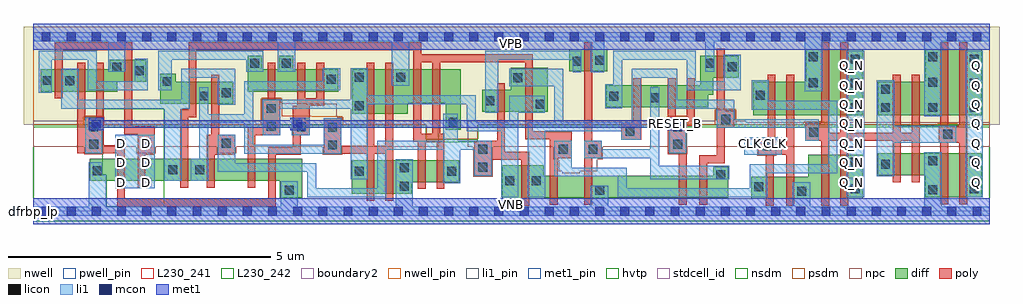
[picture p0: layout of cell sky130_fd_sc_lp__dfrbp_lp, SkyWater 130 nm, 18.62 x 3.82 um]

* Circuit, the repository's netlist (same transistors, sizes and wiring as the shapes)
* Copyright 2020 The SkyWater PDK Authors
*
* Licensed under the Apache License, Version 2.0 (the "License");
* you may not use this file except in compliance with the License.
* You may obtain a copy of the License at
*
*     https://www.apache.org/licenses/LICENSE-2.0
*
* Unless required by applicable law or agreed to in writing, software
* distributed under the License is distributed on an "AS IS" BASIS,
* WITHOUT WARRANTIES OR CONDITIONS OF ANY KIND, either express or implied.
* See the License for the specific language governing permissions and
* limitations under the License.
*
* SPDX-License-Identifier: Apache-2.0

.SUBCKT sky130_fd_sc_lp__dfrbp_lp CLK D RESET_B VGND VNB VPB VPWR Q Q_N
*.PININFO CLK:I D:I RESET_B:I VGND:I VNB:I VPB:I VPWR:I Q:O Q_N:O
MI651 Q_N s0 net156 VNB sky130_fd_pr__nfet_01v8 m=1 w=0.84U l=0.15U mult=1 sa=0.265
+ sb=0.265 sd=0.28 area=0.063 perim=1.14
MI46 clkpos clkneg net73 VNB sky130_fd_pr__nfet_01v8 m=1 w=0.42U l=0.15U mult=1
+ sa=0.265 sb=0.265 sd=0.28 area=0.063 perim=1.14
MI42 db clkneg M0 VNB sky130_fd_pr__nfet_01v8 m=1 w=0.42U l=0.15U mult=1 sa=0.265
+ sb=0.265 sd=0.28 area=0.063 perim=1.14
MI656 net114 s0 net144 VNB sky130_fd_pr__nfet_01v8 m=1 w=0.42U l=0.15U mult=1 sa=0.265
+ sb=0.265 sd=0.28 area=0.063 perim=1.14
MI657 net144 RESET_B VGND VNB sky130_fd_pr__nfet_01v8 m=1 w=0.42U l=0.15U mult=1
+ sa=0.265 sb=0.265 sd=0.28 area=0.063 perim=1.14
MI33 net137 RESET_B VGND VNB sky130_fd_pr__nfet_01v8 m=1 w=0.42U l=0.15U mult=1
+ sa=0.265 sb=0.265 sd=0.28 area=0.063 perim=1.14
MI4 M0 clkpos net129 VNB sky130_fd_pr__nfet_01v8 m=1 w=0.42U l=0.15U mult=1 sa=0.265
+ sb=0.265 sd=0.28 area=0.063 perim=1.14
MI34 net129 M1 net137 VNB sky130_fd_pr__nfet_01v8 m=1 w=0.42U l=0.15U mult=1 sa=0.265
+ sb=0.265 sd=0.28 area=0.063 perim=1.14
MI655 s0 clkneg net113 VNB sky130_fd_pr__nfet_01v8 m=1 w=0.42U l=0.15U mult=1 sa=0.265
+ sb=0.265 sd=0.28 area=0.063 perim=1.14
MI652 net229 s0 net81 VNB sky130_fd_pr__nfet_01v8 m=1 w=0.42U l=0.15U mult=1 sa=0.265
+ sb=0.265 sd=0.28 area=0.063 perim=1.14
MI653 Q net229 net93 VNB sky130_fd_pr__nfet_01v8 m=1 w=0.84U l=0.15U mult=1 sa=0.265
+ sb=0.265 sd=0.28 area=0.063 perim=1.14
MI654 net113 net114 VGND VNB sky130_fd_pr__nfet_01v8 m=1 w=0.42U l=0.15U mult=1
+ sa=0.265 sb=0.265 sd=0.28 area=0.063 perim=1.14
MI64 net156 s0 VGND VNB sky130_fd_pr__nfet_01v8 m=1 w=0.84U l=0.15U mult=1 sa=0.265
+ sb=0.265 sd=0.28 area=0.063 perim=1.14
MI44 clkneg CLK net104 VNB sky130_fd_pr__nfet_01v8 m=1 w=0.42U l=0.15U mult=1 sa=0.265
+ sb=0.265 sd=0.28 area=0.063 perim=1.14
MI55 net96 M0 VGND VNB sky130_fd_pr__nfet_01v8 m=1 w=0.64U l=0.15U mult=1 sa=0.265
+ sb=0.265 sd=0.28 area=0.063 perim=1.14
MI647 M1 M0 net96 VNB sky130_fd_pr__nfet_01v8 m=1 w=0.64U l=0.15U mult=1 sa=0.265
+ sb=0.265 sd=0.28 area=0.063 perim=1.14
MI62 net93 net229 VGND VNB sky130_fd_pr__nfet_01v8 m=1 w=0.84U l=0.15U mult=1 sa=0.265
+ sb=0.265 sd=0.28 area=0.063 perim=1.14
MI39 db D net85 VNB sky130_fd_pr__nfet_01v8 m=1 w=0.42U l=0.15U mult=1 sa=0.265
+ sb=0.265 sd=0.28 area=0.063 perim=1.14
MI38 net85 RESET_B VGND VNB sky130_fd_pr__nfet_01v8 m=1 w=0.42U l=0.15U mult=1
+ sa=0.265 sb=0.265 sd=0.28 area=0.063 perim=1.14
MI61 net81 s0 VGND VNB sky130_fd_pr__nfet_01v8 m=1 w=0.42U l=0.15U mult=1 sa=0.265
+ sb=0.265 sd=0.28 area=0.063 perim=1.14
MI649 M1 clkpos s0 VNB sky130_fd_pr__nfet_01v8 m=1 w=0.64U l=0.15U mult=1 sa=0.265
+ sb=0.265 sd=0.28 area=0.063 perim=1.14
MI51 net73 clkneg VGND VNB sky130_fd_pr__nfet_01v8 m=1 w=0.42U l=0.15U mult=1 sa=0.265
+ sb=0.265 sd=0.28 area=0.063 perim=1.14
MI50 net104 CLK VGND VNB sky130_fd_pr__nfet_01v8 m=1 w=0.42U l=0.15U mult=1 sa=0.265
+ sb=0.265 sd=0.28 area=0.063 perim=1.14
MI47 clkpos clkneg net217 VPB sky130_fd_pr__pfet_01v8_hvt m=1 w=0.64U l=0.15U mult=1
+ sa=0.265 sb=0.265 sd=0.28 area=0.063 perim=1.14
MI43 db clkpos M0 VPB sky130_fd_pr__pfet_01v8_hvt m=1 w=0.42U l=0.15U mult=1 sa=0.265
+ sb=0.265 sd=0.28 area=0.063 perim=1.14
MI662 net261 net114 VPWR VPB sky130_fd_pr__pfet_01v8_hvt m=1 w=0.42U l=0.15U mult=1
+ sa=0.265 sb=0.265 sd=0.28 area=0.063 perim=1.14
MI659 net114 RESET_B net245 VPB sky130_fd_pr__pfet_01v8_hvt m=1 w=0.42U l=0.15U mult=1
+ sa=0.265 sb=0.265 sd=0.28 area=0.063 perim=1.14
MI664 s0 clkpos net261 VPB sky130_fd_pr__pfet_01v8_hvt m=1 w=0.42U l=0.15U mult=1
+ sa=0.265 sb=0.265 sd=0.28 area=0.063 perim=1.14
MI658 net114 s0 net177 VPB sky130_fd_pr__pfet_01v8_hvt m=1 w=0.42U l=0.15U mult=1
+ sa=0.265 sb=0.265 sd=0.28 area=0.063 perim=1.14
MI58 net245 RESET_B VPWR VPB sky130_fd_pr__pfet_01v8_hvt m=1 w=0.42U l=0.15U mult=1
+ sa=0.265 sb=0.265 sd=0.28 area=0.063 perim=1.14
MI30 net236 M1 VPWR VPB sky130_fd_pr__pfet_01v8_hvt m=1 w=0.42U l=0.15U mult=1
+ sa=0.265 sb=0.265 sd=0.28 area=0.063 perim=1.14
MI31 M0 clkneg net236 VPB sky130_fd_pr__pfet_01v8_hvt m=1 w=0.42U l=0.15U mult=1
+ sa=0.265 sb=0.265 sd=0.28 area=0.063 perim=1.14
MI32 M0 RESET_B net173 VPB sky130_fd_pr__pfet_01v8_hvt m=1 w=0.42U l=0.15U mult=1
+ sa=0.265 sb=0.265 sd=0.28 area=0.063 perim=1.14
MI663 net229 s0 net189 VPB sky130_fd_pr__pfet_01v8_hvt m=1 w=0.64U l=0.15U mult=1
+ sa=0.265 sb=0.265 sd=0.28 area=0.063 perim=1.14
MI660 Q net229 net224 VPB sky130_fd_pr__pfet_01v8_hvt m=1 w=1.26U l=0.15U mult=1
+ sa=0.265 sb=0.265 sd=0.28 area=0.063 perim=1.14
MI661 Q_N s0 net220 VPB sky130_fd_pr__pfet_01v8_hvt m=1 w=1.26U l=0.15U mult=1
+ sa=0.265 sb=0.265 sd=0.28 area=0.063 perim=1.14
MI52 net217 clkneg VPWR VPB sky130_fd_pr__pfet_01v8_hvt m=1 w=0.64U l=0.15U mult=1
+ sa=0.265 sb=0.265 sd=0.28 area=0.063 perim=1.14
MI45 clkneg CLK net169 VPB sky130_fd_pr__pfet_01v8_hvt m=1 w=0.64U l=0.15U mult=1
+ sa=0.265 sb=0.265 sd=0.28 area=0.063 perim=1.14
MI63 net220 s0 VPWR VPB sky130_fd_pr__pfet_01v8_hvt m=1 w=1.26U l=0.15U mult=1
+ sa=0.265 sb=0.265 sd=0.28 area=0.063 perim=1.14
MI54 net200 M0 VPWR VPB sky130_fd_pr__pfet_01v8_hvt m=1 w=0.84U l=0.15U mult=1
+ sa=0.265 sb=0.265 sd=0.28 area=0.063 perim=1.14
MI648 M1 M0 net200 VPB sky130_fd_pr__pfet_01v8_hvt m=1 w=0.84U l=0.15U mult=1 sa=0.265
+ sb=0.265 sd=0.28 area=0.063 perim=1.14
MI41 db RESET_B net165 VPB sky130_fd_pr__pfet_01v8_hvt m=1 w=0.42U l=0.15U mult=1
+ sa=0.265 sb=0.265 sd=0.28 area=0.063 perim=1.14
MI40 db D net161 VPB sky130_fd_pr__pfet_01v8_hvt m=1 w=0.42U l=0.15U mult=1 sa=0.265
+ sb=0.265 sd=0.28 area=0.063 perim=1.14
MI60 net189 s0 VPWR VPB sky130_fd_pr__pfet_01v8_hvt m=1 w=0.64U l=0.15U mult=1
+ sa=0.265 sb=0.265 sd=0.28 area=0.063 perim=1.14
MI650 M1 clkneg s0 VPB sky130_fd_pr__pfet_01v8_hvt m=1 w=0.84U l=0.15U mult=1 sa=0.265
+ sb=0.265 sd=0.28 area=0.063 perim=1.14
MI59 net224 net229 VPWR VPB sky130_fd_pr__pfet_01v8_hvt m=1 w=1.26U l=0.15U mult=1
+ sa=0.265 sb=0.265 sd=0.28 area=0.063 perim=1.14
MI57 net177 s0 VPWR VPB sky130_fd_pr__pfet_01v8_hvt m=1 w=0.42U l=0.15U mult=1
+ sa=0.265 sb=0.265 sd=0.28 area=0.063 perim=1.14
MI56 net173 RESET_B VPWR VPB sky130_fd_pr__pfet_01v8_hvt m=1 w=0.42U l=0.15U mult=1
+ sa=0.265 sb=0.265 sd=0.28 area=0.063 perim=1.14
MI53 net169 CLK VPWR VPB sky130_fd_pr__pfet_01v8_hvt m=1 w=0.64U l=0.15U mult=1
+ sa=0.265 sb=0.265 sd=0.28 area=0.063 perim=1.14
MI49 net165 RESET_B VPWR VPB sky130_fd_pr__pfet_01v8_hvt m=1 w=0.42U l=0.15U mult=1
+ sa=0.265 sb=0.265 sd=0.28 area=0.063 perim=1.14
MI48 net161 D VPWR VPB sky130_fd_pr__pfet_01v8_hvt m=1 w=0.42U l=0.15U mult=1 sa=0.265
+ sb=0.265 sd=0.28 area=0.063 perim=1.14
.ENDS sky130_fd_sc_lp__dfrbp_lp

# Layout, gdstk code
import gdstk
lib = gdstk.Library(unit=1e-6, precision=1e-09)
def R(c, l, rs):  # rectangles x0, y0, x1, y1
    for r in rs: c.add(gdstk.rectangle(r[:2], r[2:], *l))
def A(c, l, x, y, w, h, nx, ny, dx, dy):  # array of equal rectangles
    R(c, l, [(x+i*dx, y+j*dy, x+i*dx+w, y+j*dy+h) for i in range(nx) for j in range(ny)])
def P(c, l, *ps):  # polygons
    for p in ps: c.add(gdstk.Polygon(p, *l))
nwell_pin = (64, 16)
nwell = (64, 20)
diff = (65, 20)
poly = (66, 20)
licon = (66, 44)
li1_pin = (67, 16)
li1 = (67, 20)
mcon = (67, 44)
met1_pin = (68, 16)
met1 = (68, 20)
hvtp = (78, 44)
stdcell_id = (81, 4)
nsdm = (93, 44)
psdm = (94, 20)
npc = (95, 20)
pwell_pin = (122, 16)
L230_241 = (230, 241)
L230_242 = (230, 242)
boundary2 = (236, 0)

sky130_fd_sc_lp__dfrbp_l = lib.new_cell('sky130_fd_sc_lp__dfrbp_lp')
R(sky130_fd_sc_lp__dfrbp_l, nwell_pin, [(0,3.085,18.24,3.33)])
P(sky130_fd_sc_lp__dfrbp_l, nwell, [(18.43,3.52),(-0.19,3.52),(-0.19,1.655),(7.49,1.655),(7.49,1.375),(8.475,1.375),(8.475,1.655),(18.43,1.655)])
R(sky130_fd_sc_lp__dfrbp_l, diff, [(10.225,2.675,10.945,3.095)])
P(sky130_fd_sc_lp__dfrbp_l, diff, [(13.46,2.97),(12.725,2.97),(12.725,2.405),(10.925,2.405),(10.925,1.985),(12.875,1.985),(12.875,2.225),(12.965,2.225),(12.965,2.55),(13.46,2.55)],
  [(2.15,2.89),(1.455,2.89),(1.455,2.705),(0.135,2.705),(0.135,2.285),(1.595,2.285),(1.595,2.47),(2.15,2.47)],
  [(3.815,2.475),(2.715,2.475),(2.715,2.62),(2.42,2.62),(2.42,2.055),(3.815,2.055)],
  [(18.095,1.105),(16.11,1.105),(16.11,0.685),(17.015,0.685),(17.015,0.265),(18.095,0.265)],
  [(5.125,1),(1.075,1),(1.075,0.58),(4.7,0.58),(4.7,0.26),(5.125,0.26)],
  [(5.815,2.705),(4.96,2.705),(4.96,2.97),(4.69,2.97),(4.69,2.705),(4.355,2.705),(4.355,2.97),(4.085,2.97),(4.085,2.285),(5.815,2.285)],
  [(8.125,0.975),(6.07,0.975),(6.07,0.335),(7.22,0.335),(7.22,0.555),(8.125,0.555)],
  [(8.15,2.705),(6.085,2.705),(6.085,1.865),(7.14,1.865),(7.14,2.065),(7.87,2.065),(7.87,1.555),(8.15,1.555)],
  [(15.825,3.095),(14.735,3.095),(14.735,2.475),(13.73,2.475),(13.73,1.835),(15.825,1.835)],
  [(9.815,2.735),(9.105,2.735),(9.105,2.315),(8.56,2.315),(8.56,1.895),(9.815,1.895)],
  [(18.095,3.095),(17.015,3.095),(17.015,2.475),(16.11,2.475),(16.11,1.835),(18.095,1.835)],
  [(15.825,1.08),(14.78,1.08),(14.78,0.66),(13.69,0.66),(13.69,0.24),(15.825,0.24)],
  [(13.255,0.845),(12.965,0.845),(12.965,0.675),(9.74,0.675),(9.74,0.875),(8.94,0.875),(8.94,0.235),(9.74,0.235),(9.74,0.255),(13.255,0.255)])
P(sky130_fd_sc_lp__dfrbp_l, poly, [(17.81,3.225),(17.66,3.225),(17.66,1.635),(17.45,1.635),(17.45,3.225),(17.3,3.225),(17.3,1.635),(17.275,1.635),(17.275,1.305),(17.3,1.305),(17.3,0.135),(17.45,0.135),(17.45,1.305),(17.66,1.305),(17.66,0.135),(17.81,0.135)],
  [(14.515,2.605),(14.365,2.605),(14.365,1.23),(14.155,1.23),(14.155,2.605),(14.005,2.605),(14.005,1.41),(13.825,1.41),(13.825,1.08),(13.975,1.08),(13.975,0.11),(14.125,0.11),(14.125,1.08),(14.365,1.08),(14.365,0.11),(14.515,0.11)],
  [(13.37,1.92),(13.19,1.92),(13.19,3.1),(13.04,3.1),(13.04,1.07),(12.705,1.07),(12.705,0.125),(12.855,0.125),(12.855,0.92),(13.19,0.92),(13.19,1.59),(13.37,1.59)],
  [(2.315,1.62),(1.88,1.62),(1.88,3.225),(0.405,3.225),(0.405,2.155),(0.555,2.155),(0.555,3.075),(1.73,3.075),(1.73,1.47),(1.985,1.47),(1.985,0.45),(2.135,0.45),(2.135,1.075),(2.315,1.075)],
  [(3.845,1.46),(3.54,1.46),(3.54,2.605),(3.39,2.605),(3.39,1.46),(3.31,1.46),(3.31,0.45),(3.46,0.45),(3.46,1.075),(3.845,1.075)],
  [(16.905,2.605),(16.755,2.605),(16.755,1.495),(16.545,1.495),(16.545,2.605),(16.395,2.605),(16.395,1.495),(15.54,1.495),(15.54,3.225),(15.39,3.225),(15.39,1.495),(15.18,1.495),(15.18,3.225),(15.03,3.225),(15.03,1.675),(14.725,1.675),(14.725,1.345),(15.03,1.345),(15.03,0.11),(15.18,0.11),(15.18,1.345),(15.39,1.345),(15.39,0.11),(15.54,0.11),(15.54,1.345),(16.395,1.345),(16.395,0.555),(16.545,0.555),(16.545,1.345),(16.755,1.345),(16.755,0.555),(16.905,0.555)],
  [(12.615,2.535),(12.465,2.535),(12.465,1.78),(12.255,1.78),(12.255,2.535),(12.105,2.535),(12.105,1.11),(12.315,1.11),(12.315,0.125),(12.465,0.125),(12.465,1.63),(12.615,1.63)],
  [(4.705,2.125),(4.615,2.125),(4.615,2.835),(4.465,2.835),(4.465,2.125),(4.375,2.125),(4.375,1.605),(4.085,1.605),(4.085,0.45),(4.235,0.45),(4.235,1.455),(4.705,1.455)],
  [(5.545,2.835),(5.395,2.835),(5.395,2.16),(5.185,2.16),(5.185,2.835),(5.035,2.835),(5.035,2.01),(4.945,2.01),(4.945,1.225),(4.475,1.225),(4.475,0.24),(1.745,0.24),(1.745,1.26),(1.345,1.26),(1.345,2.835),(1.195,2.835),(1.195,1.78),(0.985,1.78),(0.985,2.835),(0.835,2.835),(0.835,1.11),(1.595,1.11),(1.595,0.09),(4.625,0.09),(4.625,1.075),(5.095,1.075),(5.095,1.45),(5.275,1.45),(5.275,2.01),(5.545,2.01)],
  [(6.865,2.835),(6.715,2.835),(6.715,1.25),(6.505,1.25),(6.505,2.835),(6.355,2.835),(6.355,1.25),(5.87,1.25),(5.87,1.77),(5.54,1.77),(5.54,1.1),(6.355,1.1),(6.355,0.205),(6.505,0.205),(6.505,1.1),(6.715,1.1),(6.715,0.205),(6.865,0.205)],
  [(9.455,1.135),(8.995,1.135),(8.995,2.445),(8.845,2.445),(8.845,1.345),(8.41,1.345),(8.41,0.675),(8.74,0.675),(8.74,0.985),(9.305,0.985),(9.305,0.105),(9.455,0.105)],
  [(10.27,1.525),(9.53,1.525),(9.53,2.995),(7.61,2.995),(7.61,1.48),(7.4,1.48),(7.4,2.845),(7.61,2.845),(7.61,2.995),(7.4,2.995),(7.4,3.225),(2.96,3.225),(2.96,1.945),(2.8,1.945),(2.8,0.45),(2.95,0.45),(2.95,1.795),(3.11,1.795),(3.11,3.075),(7.25,3.075),(7.25,1.33),(7.33,1.33),(7.33,0.425),(7.48,0.425),(7.48,1.33),(7.69,1.33),(7.69,0.425),(7.84,0.425),(7.84,1.48),(7.76,1.48),(7.76,2.845),(9.38,2.845),(9.38,1.375),(9.85,1.375),(9.85,0.125),(10,0.125),(10,1.015),(10.27,1.015)],
  [(10.84,1.345),(10.66,1.345),(10.66,3.225),(10.51,3.225),(10.51,0.125),(10.66,0.125),(10.66,1.015),(10.84,1.015)],
  [(11.595,2.535),(11.445,2.535),(11.445,1.695),(11.215,1.695),(11.215,1.365),(11.595,1.365)])
A(sky130_fd_sc_lp__dfrbp_l, licon, 15.595, 1.895, 0.17, 0.17, 1, 3, 0, 0.46)
A(sky130_fd_sc_lp__dfrbp_l, licon, 17.075, 1.895, 0.17, 0.17, 1, 3, 0, 0.485)
A(sky130_fd_sc_lp__dfrbp_l, licon, 17.865, 1.895, 0.17, 0.17, 1, 3, 0, 0.46)
R(sky130_fd_sc_lp__dfrbp_l, licon, [(14.57,0.3,14.74,0.47), (10.715,0.315,10.885,0.485), (4.795,0.32,4.965,0.49), (17.075,0.325,17.245,0.495), (15.595,0.345,15.765,0.515), (17.865,0.345,18.035,0.515), (13.75,0.385,13.92,0.555), (6.99,0.395,7.16,0.565), (9,0.495,9.17,0.665), (9.51,0.495,9.68,0.665), (13.025,0.615,13.195,0.785), (6.13,0.68,6.3,0.85), (7.895,0.68,8.065,0.85), (1.135,0.69,1.305,0.86), (2.575,0.705,2.745,0.875), (3.085,0.705,3.255,0.875), (6.99,0.745,7.16,0.915), (8.49,0.755,8.66,0.925), (16.17,0.81,16.34,0.98), (15.595,0.85,15.765,1.02), (17.075,0.875,17.245,1.045), (17.865,0.875,18.035,1.045), (8.49,1.095,8.66,1.265), (10.02,1.095,10.19,1.265), (10.59,1.095,10.76,1.265), (13.905,1.16,14.075,1.33), (5.62,1.18,5.79,1.35), (1.065,1.19,1.235,1.36), (12.205,1.19,12.375,1.36), (2.065,1.21,2.235,1.38), (3.595,1.21,3.765,1.38), (17.355,1.385,17.525,1.555), (14.805,1.425,14.975,1.595), (11.295,1.445,11.465,1.615), (5.62,1.52,5.79,1.69), (1.065,1.53,1.235,1.7), (5.025,1.53,5.195,1.7), (12.205,1.53,12.375,1.7), (4.455,1.535,4.625,1.705), (7.92,1.615,8.09,1.785), (13.12,1.67,13.29,1.84), (4.455,1.875,4.625,2.045), (16.17,1.895,16.34,2.065), (6.13,1.925,6.3,2.095), (9.585,1.955,9.755,2.125), (8.62,2.02,8.79,2.19), (11.765,2.08,11.935,2.25), (10.985,2.11,11.155,2.28), (3.165,2.115,3.335,2.285), (13.78,2.13,13.95,2.3), (3.595,2.18,3.765,2.35), (16.17,2.245,16.34,2.415), (14.795,2.37,14.965,2.54), (2.465,2.39,2.635,2.56), (0.61,2.405,0.78,2.575), (0.18,2.41,0.35,2.58), (5.6,2.43,5.77,2.6), (9.155,2.465,9.325,2.635), (6.13,2.475,6.3,2.645), (6.92,2.475,7.09,2.645), (1.935,2.595,2.105,2.765), (1.505,2.66,1.675,2.83), (13.245,2.675,13.415,2.845), (4.135,2.74,4.305,2.91), (4.74,2.74,4.91,2.91), (12.815,2.74,12.985,2.91), (10.285,2.775,10.455,2.945), (10.715,2.8,10.885,2.97), (14.795,2.865,14.965,3.035)])
A(sky130_fd_sc_lp__dfrbp_l, li1_pin, 1.595, 0.47, 0.17, 0.17, 1, 3, 0, 0.37)
A(sky130_fd_sc_lp__dfrbp_l, li1_pin, 2.075, 0.47, 0.17, 0.17, 1, 3, 0, 0.37)
A(sky130_fd_sc_lp__dfrbp_l, li1_pin, 15.515, 0.47, 0.17, 0.17, 1, 7, 0, 0.37)
A(sky130_fd_sc_lp__dfrbp_l, li1_pin, 17.915, 0.47, 0.17, 0.17, 1, 7, 0, 0.37)
R(sky130_fd_sc_lp__dfrbp_l, li1_pin, [(13.595,1.21,13.765,1.38), (14.075,1.21,14.245,1.38)])
R(sky130_fd_sc_lp__dfrbp_l, li1, [(15.515,0.265,15.845,3.065), (17.785,0.265,18.115,3.065), (1.565,0.44,2.315,1.46), (13.565,1.08,14.275,1.41), (0.985,1.11,1.315,1.78), (12.125,1.11,12.455,1.78), (4.925,1.45,5.275,1.78)])
P(sky130_fd_sc_lp__dfrbp_l, li1, [(2.185,2.91),(1.935,2.91),(1.935,2.48),(1.21,2.48),(1.21,3.065),(0.1,3.065),(0.1,2.265),(0.35,2.265),(0.35,2.895),(1.04,2.895),(1.04,2.31),(2.185,2.31)],
  [(18.24,0.085),(17.325,0.085),(17.325,1.125),(16.995,1.125),(16.995,0.085),(14.82,0.085),(14.82,0.55),(14.49,0.55),(14.49,0.085),(10.965,0.085),(10.965,0.485),(10.635,0.485),(10.635,0.085),(7.24,0.085),(7.24,0.995),(6.91,0.995),(6.91,0.085),(5.045,0.085),(5.045,0.57),(4.715,0.57),(4.715,0.085),(1.385,0.085),(1.385,0.7),(1.315,0.7),(1.315,0.94),(1.055,0.94),(1.055,0.085),(0,0.085),(0,-0.085),(18.24,-0.085)],
  [(3.845,2.715),(2.815,2.715),(2.815,2.13),(0.86,2.13),(0.86,2.715),(0.53,2.715),(0.53,1.96),(2.495,1.96),(2.495,0.58),(2.825,0.58),(2.825,1.96),(2.985,1.96),(2.985,2.545),(3.515,2.545),(3.515,2.035),(3.845,2.035)],
  [(4.385,3.065),(2.385,3.065),(2.385,2.31),(2.635,2.31),(2.635,2.895),(4.055,2.895),(4.055,2.66),(4.385,2.66)],
  [(18.24,3.415),(0,3.415),(0,3.245),(1.425,3.245),(1.425,2.66),(1.755,2.66),(1.755,3.245),(4.66,3.245),(4.66,2.66),(4.99,2.66),(4.99,3.245),(6.84,3.245),(6.84,2.395),(7.17,2.395),(7.17,3.245),(10.635,3.245),(10.635,2.655),(10.885,2.655),(10.885,3.245),(12.815,3.245),(12.815,2.66),(12.985,2.66),(12.985,3.245),(14.715,3.245),(14.715,2.29),(15.045,2.29),(15.045,3.245),(16.995,3.245),(16.995,1.815),(17.325,1.815),(17.325,3.245),(18.24,3.245)],
  [(5.87,1.77),(5.54,1.77),(5.54,1.27),(4.195,1.27),(4.195,2.31),(5.85,2.31),(5.85,2.725),(5.52,2.725),(5.52,2.48),(4.025,2.48),(4.025,1.855),(3.335,1.855),(3.335,2.365),(3.165,2.365),(3.165,1),(3.005,1),(3.005,0.58),(3.335,0.58),(3.335,1.685),(4.025,1.685),(4.025,1.1),(5.87,1.1)],
  [(8.74,1.345),(8.09,1.345),(8.09,1.865),(7.815,1.865),(7.815,1.345),(6.56,1.345),(6.56,0.435),(5.395,0.435),(5.395,0.92),(3.845,0.92),(3.845,1.46),(3.515,1.46),(3.515,0.75),(5.225,0.75),(5.225,0.265),(6.73,0.265),(6.73,1.175),(7.815,1.175),(7.815,0.535),(8.145,0.535),(8.145,1.175),(8.41,1.175),(8.41,0.675),(8.74,0.675)],
  [(9.755,2.205),(9.08,2.205),(9.08,1.695),(8.44,1.695),(8.44,2.215),(6.38,2.215),(6.38,2.725),(6.05,2.725),(6.05,2.13),(4.375,2.13),(4.375,1.455),(4.705,1.455),(4.705,1.96),(6.05,1.96),(6.05,0.615),(6.38,0.615),(6.38,2.045),(8.27,2.045),(8.27,1.525),(8.92,1.525),(8.92,0.265),(9.25,0.265),(9.25,1.875),(9.755,1.875)],
  [(10.455,3.065),(8.62,3.065),(8.62,1.875),(8.87,1.875),(8.87,2.895),(10.285,2.895),(10.285,2.655),(10.455,2.655)],
  [(13.275,0.865),(11.935,0.865),(11.935,2.365),(11.765,2.365),(11.765,1.185),(10.84,1.185),(10.84,1.345),(10.51,1.345),(10.51,1.015),(11.765,1.015),(11.765,0.615),(13.275,0.615)],
  [(13.495,2.99),(13.165,2.99),(13.165,2.48),(12.635,2.48),(12.635,3.065),(11.065,3.065),(11.065,2.425),(10.905,2.425),(10.905,1.965),(11.235,1.965),(11.235,2.895),(12.465,2.895),(12.465,2.31),(13.495,2.31)],
  [(14.985,1.76),(13.37,1.76),(13.37,2.13),(12.285,2.13),(12.285,2.715),(11.415,2.715),(11.415,1.695),(10.105,1.695),(10.105,2.715),(9.075,2.715),(9.075,2.385),(9.935,2.385),(9.935,1.695),(9.43,1.695),(9.43,0.265),(9.76,0.265),(9.76,1.525),(11.215,1.525),(11.215,1.365),(11.585,1.365),(11.585,2.545),(12.115,2.545),(12.115,1.96),(13.04,1.96),(13.04,1.59),(14.725,1.59),(14.725,1.345),(14.985,1.345)],
  [(15.335,2.11),(14.03,2.11),(14.03,2.495),(13.7,2.495),(13.7,1.94),(15.165,1.94),(15.165,0.9),(13.67,0.9),(13.67,0.435),(11.315,0.435),(11.315,0.835),(10.27,0.835),(10.27,1.345),(9.94,1.345),(9.94,0.665),(11.145,0.665),(11.145,0.265),(14,0.265),(14,0.73),(15.335,0.73)],
  [(17.605,1.635),(16.42,1.635),(16.42,2.495),(16.09,2.495),(16.09,0.665),(16.42,0.665),(16.42,1.305),(17.605,1.305)])
A(sky130_fd_sc_lp__dfrbp_l, mcon, 0.155, -0.085, 0.17, 0.17, 38, 2, 0.48, 3.33)
R(sky130_fd_sc_lp__dfrbp_l, mcon, [(1.115,1.58,1.285,1.75), (4.955,1.58,5.125,1.75), (12.155,1.58,12.325,1.75)])
R(sky130_fd_sc_lp__dfrbp_l, met1_pin, [(0,0,18.24,0.245), (12.155,1.58,12.325,1.75), (0,3.085,18.24,3.33)])
R(sky130_fd_sc_lp__dfrbp_l, met1, [(0,-0.245,18.24,0.245), (0,3.085,18.24,3.575)])
P(sky130_fd_sc_lp__dfrbp_l, met1, [(12.385,1.78),(12.095,1.78),(12.095,1.735),(5.185,1.735),(5.185,1.78),(4.895,1.78),(4.895,1.735),(1.345,1.735),(1.345,1.78),(1.055,1.78),(1.055,1.55),(1.345,1.55),(1.345,1.595),(4.895,1.595),(4.895,1.55),(5.185,1.55),(5.185,1.595),(12.095,1.595),(12.095,1.55),(12.385,1.55)])
P(sky130_fd_sc_lp__dfrbp_l, hvtp, [(18.24,3.33),(0,3.33),(0,1.6),(7.49,1.6),(7.49,1.32),(8.475,1.32),(8.475,1.6),(18.24,1.6)])
R(sky130_fd_sc_lp__dfrbp_l, stdcell_id, [(0,0,18.24,3.33)])
P(sky130_fd_sc_lp__dfrbp_l, nsdm, [(18.24,1.655),(8.475,1.655),(8.475,1.375),(7.49,1.375),(7.49,1.655),(0,1.655),(0,-0.19),(18.24,-0.19)])
P(sky130_fd_sc_lp__dfrbp_l, psdm, [(18.24,3.52),(0,3.52),(0,1.655),(0.955,1.655),(0.955,1.81),(1.345,1.81),(1.345,1.655),(4.345,1.655),(4.345,2.155),(4.735,2.155),(4.735,1.81),(5.305,1.81),(5.305,1.8),(5.9,1.8),(5.9,1.655),(7.49,1.655),(7.49,1.375),(8.475,1.375),(8.475,1.655),(11.185,1.655),(11.185,1.725),(11.575,1.725),(11.575,1.655),(12.095,1.655),(12.095,1.81),(12.485,1.81),(12.485,1.655),(13.01,1.655),(13.01,1.95),(13.4,1.95),(13.4,1.655),(14.695,1.655),(14.695,1.705),(15.085,1.705),(15.085,1.655),(17.245,1.655),(17.245,1.665),(17.635,1.665),(17.635,1.655),(18.24,1.655)])
P(sky130_fd_sc_lp__dfrbp_l, npc, [(7.73,1.725),(5.945,1.725),(5.945,1.73),(5.89,1.73),(5.89,1.79),(5.785,1.79),(5.785,2.055),(5.19,2.055),(5.19,2.065),(4.725,2.065),(4.725,2.145),(4.355,2.145),(4.355,1.73),(1.335,1.73),(1.335,1.8),(0.965,1.8),(0.965,1.73),(0,1.73),(0,1.23),(0.965,1.23),(0.965,1.09),(1.335,1.09),(1.335,1.23),(1.965,1.23),(1.965,1.11),(2.335,1.11),(2.335,1.23),(3.495,1.23),(3.495,1.11),(3.865,1.11),(3.865,1.23),(5.52,1.23),(5.52,1.08),(5.89,1.08),(5.89,1.23),(7.73,1.23)],
  [(18.24,1.695),(13.59,1.695),(13.59,1.73),(13.39,1.73),(13.39,1.94),(13.02,1.94),(13.02,1.73),(12.475,1.73),(12.475,1.8),(12.105,1.8),(12.105,1.73),(8.29,1.73),(8.29,1.23),(8.39,1.23),(8.39,0.655),(8.76,0.655),(8.76,1.23),(9.92,1.23),(9.92,0.995),(10.025,0.995),(10.025,0.765),(10.09,0.765),(10.09,0.73),(10.42,0.73),(10.42,0.765),(10.755,0.765),(10.755,0.995),(10.86,0.995),(10.86,1.23),(12.105,1.23),(12.105,1.09),(12.475,1.09),(12.475,1.23),(13.805,1.23),(13.805,1.06),(14.175,1.06),(14.175,1.23),(18.24,1.23)])
R(sky130_fd_sc_lp__dfrbp_l, pwell_pin, [(0,0,18.24,0.245)])
R(sky130_fd_sc_lp__dfrbp_l, L230_241, [(1.565,0.44,2.315,1.46)])
P(sky130_fd_sc_lp__dfrbp_l, L230_242, [(2.495,1.96),(1.315,1.96),(1.315,0.7),(1.385,0.7),(1.385,0.085),(2.495,0.085)])
R(sky130_fd_sc_lp__dfrbp_l, boundary2, [(0,0,18.24,3.33)])
sky130_fd_sc_lp__dfrbp_l.add(gdstk.Label('VNB', (9.12,0.123), layer=64, texttype=59))
sky130_fd_sc_lp__dfrbp_l.add(gdstk.Label('VPB', (9.12,3.208), layer=64, texttype=5))
sky130_fd_sc_lp__dfrbp_l.add(gdstk.Label('dfrbp_lp', (0,0), layer=83, texttype=44))
sky130_fd_sc_lp__dfrbp_l.add(gdstk.Label('RESET_B', (12.24,1.665), layer=68, texttype=5))
sky130_fd_sc_lp__dfrbp_l.add(gdstk.Label('VPWR', (9.12,3.208), layer=68, texttype=5))
sky130_fd_sc_lp__dfrbp_l.add(gdstk.Label('VGND', (9.12,0.123), layer=68, texttype=5))
sky130_fd_sc_lp__dfrbp_l.add(gdstk.Label('CLK', (13.68,1.295), layer=67, texttype=5))
sky130_fd_sc_lp__dfrbp_l.add(gdstk.Label('CLK', (14.16,1.295), layer=67, texttype=5))
sky130_fd_sc_lp__dfrbp_l.add(gdstk.Label('Q', (18,0.555), layer=67, texttype=5))
sky130_fd_sc_lp__dfrbp_l.add(gdstk.Label('Q', (18,0.925), layer=67, texttype=5))
sky130_fd_sc_lp__dfrbp_l.add(gdstk.Label('Q', (18,1.295), layer=67, texttype=5))
sky130_fd_sc_lp__dfrbp_l.add(gdstk.Label('Q', (18,1.665), layer=67, texttype=5))
sky130_fd_sc_lp__dfrbp_l.add(gdstk.Label('Q', (18,2.035), layer=67, texttype=5))
sky130_fd_sc_lp__dfrbp_l.add(gdstk.Label('Q', (18,2.405), layer=67, texttype=5))
sky130_fd_sc_lp__dfrbp_l.add(gdstk.Label('Q', (18,2.775), layer=67, texttype=5))
sky130_fd_sc_lp__dfrbp_l.add(gdstk.Label('Q_N', (15.6,0.555), layer=67, texttype=5))
sky130_fd_sc_lp__dfrbp_l.add(gdstk.Label('Q_N', (15.6,0.925), layer=67, texttype=5))
sky130_fd_sc_lp__dfrbp_l.add(gdstk.Label('Q_N', (15.6,1.295), layer=67, texttype=5))
sky130_fd_sc_lp__dfrbp_l.add(gdstk.Label('Q_N', (15.6,1.665), layer=67, texttype=5))
sky130_fd_sc_lp__dfrbp_l.add(gdstk.Label('Q_N', (15.6,2.035), layer=67, texttype=5))
sky130_fd_sc_lp__dfrbp_l.add(gdstk.Label('Q_N', (15.6,2.405), layer=67, texttype=5))
sky130_fd_sc_lp__dfrbp_l.add(gdstk.Label('Q_N', (15.6,2.775), layer=67, texttype=5))
sky130_fd_sc_lp__dfrbp_l.add(gdstk.Label('D', (1.68,0.555), layer=67, texttype=5))
sky130_fd_sc_lp__dfrbp_l.add(gdstk.Label('D', (1.68,0.925), layer=67, texttype=5))
sky130_fd_sc_lp__dfrbp_l.add(gdstk.Label('D', (1.68,1.295), layer=67, texttype=5))
sky130_fd_sc_lp__dfrbp_l.add(gdstk.Label('D', (2.16,0.555), layer=67, texttype=5))
sky130_fd_sc_lp__dfrbp_l.add(gdstk.Label('D', (2.16,0.925), layer=67, texttype=5))
sky130_fd_sc_lp__dfrbp_l.add(gdstk.Label('D', (2.16,1.295), layer=67, texttype=5))

lib.write_gds('sky130_fd_sc_lp__dfrbp_lp.gds')
